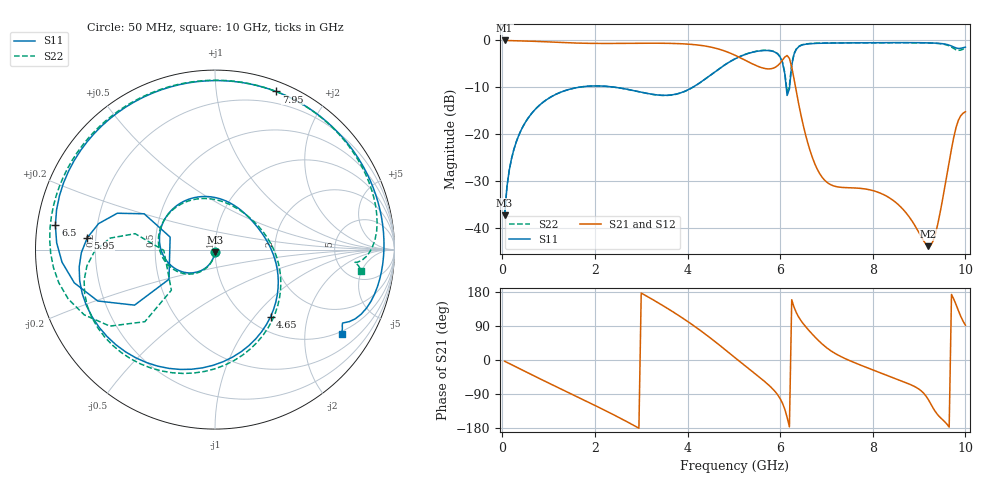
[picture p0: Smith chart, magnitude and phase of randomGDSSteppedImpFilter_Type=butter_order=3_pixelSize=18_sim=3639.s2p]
! freq	dB(S11)	phase(S11)	dB(S12)	phase(S12)
!  dB(S21)	phase(S21)	dB(S22)	phase(S22)
!S-par simulation data
#  GHz  S  DB  R 50
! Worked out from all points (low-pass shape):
!   200 points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, 50 MHz to 10 GHz, reference 50 ohm
!   highest |S21| = -0.02 dB at 50 MHz (marker M1); lowest = -43.8 dB at 9.2 GHz (marker M2)
!   |S21| within 3 dB of the highest: start of sweep to 4.992 GHz
!   lowest |S11| = -37.3 dB at 50 MHz (marker M3), VSWR 1.03, Z = 49.9 - j1.37 ohm
!   |S11| at or under -10 dB: start of sweep to 1.638 GHz; 2.454 GHz to 4.108 GHz (1.654 GHz wide, 50.4 % of centre); 6.131 GHz to 6.203 GHz (71.63 MHz wide, 1.16 % of centre)
!   |S22| runs from -37.2 to -0.5 dB; largest |S21 - S12| = 0
!   S11 on the Smith chart (normalised r, x): 50 MHz: 1.00, -0.03; 4.65 GHz: 1.24, -1.21; 5.95 GHz: 0.17, +0.05; 6.5 GHz: 0.05, +0.08; 7.95 GHz: 0.09, +1.45; 10 GHz: 0.92, -3.06
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0.05  -37.26 -93.4  -0.02 -3.2  -0.02 -3.2  -37.22 -93.1
0.2  -25.14 -103.4  -0.04 -12.4  -0.04 -12.4  -25.14 -102.6
0.5  -17.41 -122.1  -0.12 -30.7  -0.12 -30.7  -17.40 -120.4
1.75  -9.84 161.3  -0.61 -104.9  -0.61 -104.9  -9.84 167.7
2.7  -10.41 101.2  -0.63 -163.4  -0.63 -163.4  -10.42 111.5
3.4  -11.65 53.0  -0.60 148.5  -0.60 148.5  -11.68 63.8
4.05  -10.32 3.7  -0.82 97.7  -0.82 97.7  -10.35 10.2
4.65  -6.27 -50.5  -1.78 43.1  -1.78 43.1  -6.26 -46.1
5.05  -3.82 -90.9  -3.27 3.7  -3.27 3.7  -3.79 -85.2
5.45  -2.42 -131.2  -5.22 -35.5  -5.22 -35.5  -2.38 -123.1
5.95  -2.92 174.7  -5.35 -92.4  -5.35 -92.4  -2.86 -172.8
6.1  -7.09 153.2  -3.56 -129.8  -3.56 -129.8  -6.86 168.7
6.2  -10.31 -147.2  -3.84 -176.5  -3.84 -176.5  -9.58 -137.1
6.3  -2.94 -156.3  -8.23 139.5  -8.23 139.5  -2.80 -144.0
6.5  -0.92 171.3  -18.11 95.5  -18.11 95.5  -0.86 -173.7
6.7  -0.67 151.8  -25.03 67.4  -25.03 67.4  -0.63 168.7
7.3  -0.54 108.6  -31.25 9.8  -31.25 9.8  -0.53 130.2
7.95  -0.50 68.9  -31.83 -23.8  -31.83 -23.8  -0.51 94.1
8.35  -0.48 46.1  -33.45 -42.6  -33.45 -42.6  -0.50 72.7
9.2  -0.52 0.5  -43.79 -104.5  -43.79 -104.5  -0.55 26.9
9.8  -1.62 -29.3  -18.47 145.7  -18.47 145.7  -2.00 -5.1
10  -1.44 -33.6  -15.18 91.9  -15.18 91.9  -1.69 -8.4
